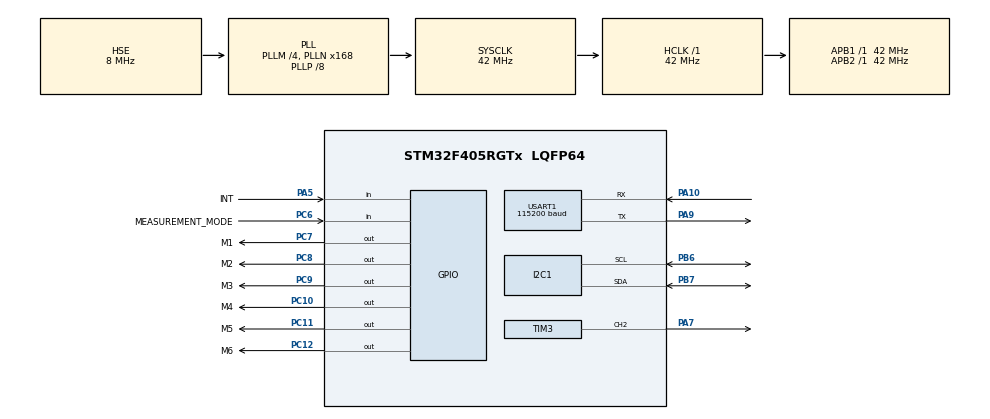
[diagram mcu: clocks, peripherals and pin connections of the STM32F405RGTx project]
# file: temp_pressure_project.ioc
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Mcu.Family=STM32F4
Mcu.Name=STM32F405RGTx
Mcu.Package=LQFP64
NVIC.PriorityGroup=NVIC_PRIORITYGROUP_4
NVIC.USART1_IRQn=true\:0\:0\:false\:false\:true\:true\:true\:true
PA10.Mode=Asynchronous
PA10.Signal=USART1_RX
PA13.Mode=JTAG_4_pins
PA13.Signal=SYS_JTMS-SWDIO
PA14.Mode=JTAG_4_pins
PA14.Signal=SYS_JTCK-SWCLK
PA15.Mode=JTAG_4_pins
PA15.Signal=SYS_JTDI
PA5.GPIO_Label=INT
PA5.Signal=GPIO_Input
PA7.Signal=S_TIM3_CH2
PA9.Mode=Asynchronous
PA9.Signal=USART1_TX
PB3.Mode=JTAG_4_pins
PB3.Signal=SYS_JTDO-SWO
PB6.Mode=I2C
PB6.Signal=I2C1_SCL
PB7.Mode=I2C
PB7.Signal=I2C1_SDA
PC10.GPIO_Label=M4
PC10.Signal=GPIO_Output
PC11.GPIO_Label=M5
PC11.Signal=GPIO_Output
PC12.GPIO_Label=M6
PC12.Signal=GPIO_Output
PC6.GPIO_Label=MEASUREMENT_MODE
PC6.Signal=GPIO_Input
PC7.GPIO_Label=M1
PC7.Signal=GPIO_Output
PC8.GPIO_Label=M2
PC8.Signal=GPIO_Output
PC9.GPIO_Label=M3
PC9.Signal=GPIO_Output
PH0-OSC_IN.Mode=HSE-External-Oscillator
PH0-OSC_IN.Signal=RCC_OSC_IN
PH1-OSC_OUT.Mode=HSE-External-Oscillator
PH1-OSC_OUT.Signal=RCC_OSC_OUT
ProjectManager.HeapSize=0x200
ProjectManager.StackSize=0x400
ProjectManager.TargetToolchain=STM32CubeIDE
RCC.48MHZClocksFreq_Value=84000000
RCC.AHBFreq_Value=42000000
RCC.APB1Freq_Value=42000000
RCC.APB1TimFreq_Value=42000000
RCC.APB2Freq_Value=42000000
RCC.APB2TimFreq_Value=42000000
RCC.CortexFreq_Value=42000000
RCC.HCLKFreq_Value=42000000
RCC.HSE_VALUE=8000000
RCC.HSI_VALUE=16000000
RCC.LSE_VALUE=32768
RCC.PLLM=4
RCC.PLLN=168
RCC.PLLP=RCC_PLLP_DIV8
RCC.PLLSourceVirtual=RCC_PLLSOURCE_HSE
RCC.SYSCLKFreq_VALUE=42000000
RCC.SYSCLKSource=RCC_SYSCLKSOURCE_PLLCLK
RCC.VCOOutputFreq_Value=336000000
SH.S_TIM3_CH2.0=TIM3_CH2,PWM Generation2 CH2
TIM3.Channel-PWM\ Generation2\ CH2=TIM_CHANNEL_2
TIM3.Period=250
TIM3.Prescaler=42000
TIM3.Pulse-PWM\ Generation2\ CH2=125
USART1.BaudRate=115200
USART1.VirtualMode=VM_ASYNC
VP_TIM3_VS_ClockSourceINT.Mode=Internal
board=custom

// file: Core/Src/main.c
/* USER CODE BEGIN Header */
/* USER CODE END Header */
#include "bmp3.h"
#include "common.h"
#include <string.h>
#include <stdio.h>
#include <stdlib.h>
#include "cJSON.h"

I2C_HandleTypeDef hi2c1;

TIM_HandleTypeDef htim3;

UART_HandleTypeDef huart1;

/* USER CODE BEGIN PV */
int8_t rslt;
uint16_t settings_sel;

struct bmp3_dev dev;
struct bmp3_data data = { 0 };
struct bmp3_settings settings = { 0 };
struct bmp3_status status = { { 0 } };

uint8_t measurement_mode = 0;

double press_min = 70000;
double press_step = 10000;
double temp_min = 0;
double temp_step = 10;
double temp = 0;
uint16_t ccr = 0;
uint16_t prescaler = 0;
uint16_t counterPeriod = 0;

char rx[50] = {0};
char tx[50] = {0};
uint8_t bufferCounter = 0;

enum
{
	TRANSMIT,
	MEASUREMENT,
	PROCESS_RECEIVED_DATA
} typedef DeviceState;

enum
{
	INT_TYPE,
	DOUBLE_TYPE
} typedef VarType;

DeviceState state = MEASUREMENT;

void changeSettings(cJSON * root, char * key, void * varAddr, VarType varType)
{
	cJSON *keyObj = cJSON_GetObjectItemCaseSensitive(root, key);
	if(keyObj != NULL)
	{
		switch(varType)
		{
			case INT_TYPE:
			{
				*((uint16_t *)varAddr) = keyObj->valueint;
				break;
			}
			case DOUBLE_TYPE:
			{
				*((double *)varAddr) = keyObj->valuedouble;
				break;
			}
		}
	}
}

void bmp3_set_measurement_leds(double * measurement, double * min, double * step)
{
	double temp = *measurement - *min;
	uint16_t leds = 0;
	temp /= *step;
	leds = 0;
	if(temp > 6)
	{
		temp = 6;
	}
	for(uint8_t i=0; i<(uint8_t)temp; i++)
	{
		leds |= M1_Pin << i;
	}
	HAL_GPIO_WritePin(M1_GPIO_Port, M1_Pin | M2_Pin | M3_Pin | M4_Pin | M5_Pin | M6_Pin, 0);
	HAL_GPIO_WritePin(M1_GPIO_Port, leds, 1);
}

void HAL_UART_RxCpltCallback(UART_HandleTypeDef *huart)
{
    if(huart->Instance == USART1)
    {
        if(rx[bufferCounter] == '}')
        {
        	bufferCounter = 0;
        	state = PROCESS_RECEIVED_DATA;
        }
        else
        {
        	bufferCounter += 1;
        }
        HAL_UART_Receive_IT(&huart1, (uint8_t *)&rx[bufferCounter], 1);
    }
}
/* USER CODE END PV */

void SystemClock_Config(void);
static void MX_GPIO_Init(void);
static void MX_USART1_UART_Init(void);
static void MX_TIM3_Init(void);
static void MX_I2C1_Init(void);

int main(void)
{

  /* MCU Configuration--------------------------------------------------------*/

  /* Reset of all peripherals, Initializes the Flash interface and the Systick. */
  HAL_Init();

  /* Configure the system clock */
  SystemClock_Config();

  /* Initialize all configured peripherals */
  MX_GPIO_Init();
  MX_USART1_UART_Init();
  MX_TIM3_Init();
  MX_I2C1_Init();
  /* USER CODE BEGIN 2 */

  rslt = bmp3_interface_init(&dev, BMP3_I2C_INTF);
  bmp3_check_rslt("bmp3_interface_init", rslt);

  rslt = bmp3_init(&dev);
  bmp3_check_rslt("bmp3_init", rslt);

  settings.int_settings.drdy_en = BMP3_ENABLE;
  settings.press_en = BMP3_ENABLE;
  settings.temp_en = BMP3_ENABLE;
  settings.odr_filter.press_os = BMP3_OVERSAMPLING_2X;
  settings.odr_filter.temp_os = BMP3_OVERSAMPLING_2X;
  settings.odr_filter.odr = BMP3_ODR_100_HZ;
  settings_sel = BMP3_SEL_PRESS_EN | BMP3_SEL_TEMP_EN | BMP3_SEL_PRESS_OS | BMP3_SEL_TEMP_OS | BMP3_SEL_ODR | BMP3_SEL_DRDY_EN;

  rslt = bmp3_set_sensor_settings(settings_sel, &settings, &dev);
  bmp3_check_rslt("bmp3_set_sensor_settings", rslt);

  settings.op_mode = BMP3_MODE_NORMAL;

  rslt = bmp3_set_op_mode(&settings, &dev);
  bmp3_check_rslt("bmp3_set_op_mode", rslt);

  measurement_mode = HAL_GPIO_ReadPin(MEASUREMENT_MODE_GPIO_Port, MEASUREMENT_MODE_Pin);

  HAL_UART_Receive_IT(&huart1, (uint8_t *)rx, 1);
  state = MEASUREMENT;

  HAL_TIM_Base_Start_IT(&htim3);
  HAL_TIM_PWM_Start(&htim3, TIM_CHANNEL_2);

	htim3.Instance->PSC = 42000;
	htim3.Instance->ARR = 1000;
	htim3.Instance->CCR2 = 500;

  ccr = htim3.Instance->CCR2;
  prescaler = htim3.Instance->PSC;
  counterPeriod = htim3.Instance->ARR;
  /* USER CODE END 2 */

  /* Infinite loop */
  /* USER CODE BEGIN WHILE */
	while(1)
	{
		switch(state)
		{
			case TRANSMIT:
			{
				cJSON *root = cJSON_CreateObject();

				ccr = htim3.Instance->CCR2;
				prescaler = htim3.Instance->PSC;
				counterPeriod = htim3.Instance->ARR;

				cJSON_AddStringToObject(root, "id", "TempPress Sensor");
				cJSON_AddNumberToObject(root, "temperature", data.temperature);
				cJSON_AddNumberToObject(root, "pressure", data.pressure);
				cJSON_AddNumberToObject(root, "temp_step", temp_step);
				cJSON_AddNumberToObject(root, "temp_min", temp_min);
				cJSON_AddNumberToObject(root, "press_step", press_step);
				cJSON_AddNumberToObject(root, "press_min", press_min);
				cJSON_AddNumberToObject(root, "prescaler", prescaler);
				cJSON_AddNumberToObject(root, "counterPeriod", counterPeriod);
				cJSON_AddNumberToObject(root, "ccr", ccr);

				char *json_string = cJSON_Print(root);

				HAL_UART_Transmit(&huart1, (uint8_t *)json_string, strlen(json_string), HAL_MAX_DELAY);

				cJSON_Delete(root);
				free(json_string);

				state = MEASUREMENT;
				break;
			}
			case MEASUREMENT:
			{
				rslt = bmp3_get_status(&status, &dev);

				bmp3_check_rslt("bmp3_get_status", rslt);

				if (status.intr.drdy != BMP3_ENABLE && rslt == BMP3_OK)
				{
					rslt = bmp3_get_sensor_data(BMP3_PRESS_TEMP, &data, &dev);
					measurement_mode = HAL_GPIO_ReadPin(MEASUREMENT_MODE_GPIO_Port, MEASUREMENT_MODE_Pin);

					if(measurement_mode == 0)
					{
						bmp3_set_measurement_leds(&data.temperature, &temp_min, &temp_step);
					}
					else
					{
						bmp3_set_measurement_leds(&data.pressure, &press_min, &press_step);
					}
				}

				ccr = htim3.Instance->CCR2;
				prescaler = htim3.Instance->PSC;
				counterPeriod = htim3.Instance->ARR;

				break;
			}
			case PROCESS_RECEIVED_DATA:
			{
				cJSON *root = cJSON_Parse(rx);

				changeSettings(root, "temp_min", &temp_min, DOUBLE_TYPE);
				changeSettings(root, "temp_step", &temp_step, DOUBLE_TYPE);
				changeSettings(root, "press_min", &press_min, DOUBLE_TYPE);
				changeSettings(root, "press_step", &press_step, DOUBLE_TYPE);
				changeSettings(root, "prescaler", &htim3.Instance->PSC, INT_TYPE);
				changeSettings(root, "counterPeriod", &htim3.Instance->ARR, INT_TYPE);
				changeSettings(root, "ccr", &htim3.Instance->CCR2, INT_TYPE);

				memset(rx, 0, sizeof(rx));
				cJSON_Delete(root);
				state = TRANSMIT;
				break;
			}

		}
	}
    /* USER CODE END WHILE */

}

void SystemClock_Config(void)
{
  RCC_OscInitTypeDef RCC_OscInitStruct = {0};
  RCC_ClkInitTypeDef RCC_ClkInitStruct = {0};

  /** Configure the main internal regulator output voltage
  */
  __HAL_RCC_PWR_CLK_ENABLE();
  __HAL_PWR_VOLTAGESCALING_CONFIG(PWR_REGULATOR_VOLTAGE_SCALE1);

  /** Initializes the RCC Oscillators according to the specified parameters
  * in the RCC_OscInitTypeDef structure.
  */
  RCC_OscInitStruct.OscillatorType = RCC_OSCILLATORTYPE_HSE;
  RCC_OscInitStruct.HSEState = RCC_HSE_ON;
  RCC_OscInitStruct.PLL.PLLState = RCC_PLL_ON;
  RCC_OscInitStruct.PLL.PLLSource = RCC_PLLSOURCE_HSE;
  RCC_OscInitStruct.PLL.PLLM = 4;
  RCC_OscInitStruct.PLL.PLLN = 168;
  RCC_OscInitStruct.PLL.PLLP = RCC_PLLP_DIV8;
  RCC_OscInitStruct.PLL.PLLQ = 4;
  if (HAL_RCC_OscConfig(&RCC_OscInitStruct) != HAL_OK)
  {
    Error_Handler();
  }

  /** Initializes the CPU, AHB and APB buses clocks
  */
  RCC_ClkInitStruct.ClockType = RCC_CLOCKTYPE_HCLK|RCC_CLOCKTYPE_SYSCLK
                              |RCC_CLOCKTYPE_PCLK1|RCC_CLOCKTYPE_PCLK2;
  RCC_ClkInitStruct.SYSCLKSource = RCC_SYSCLKSOURCE_PLLCLK;
  RCC_ClkInitStruct.AHBCLKDivider = RCC_SYSCLK_DIV1;
  RCC_ClkInitStruct.APB1CLKDivider = RCC_HCLK_DIV1;
  RCC_ClkInitStruct.APB2CLKDivider = RCC_HCLK_DIV1;

  if (HAL_RCC_ClockConfig(&RCC_ClkInitStruct, FLASH_LATENCY_1) != HAL_OK)
  {
    Error_Handler();
  }
}

static void MX_I2C1_Init(void)
{

  hi2c1.Instance = I2C1;
  hi2c1.Init.ClockSpeed = 100000;
  hi2c1.Init.DutyCycle = I2C_DUTYCYCLE_2;
  hi2c1.Init.OwnAddress1 = 0;
  hi2c1.Init.AddressingMode = I2C_ADDRESSINGMODE_7BIT;
  hi2c1.Init.DualAddressMode = I2C_DUALADDRESS_DISABLE;
  hi2c1.Init.OwnAddress2 = 0;
  hi2c1.Init.GeneralCallMode = I2C_GENERALCALL_DISABLE;
  hi2c1.Init.NoStretchMode = I2C_NOSTRETCH_DISABLE;
  if (HAL_I2C_Init(&hi2c1) != HAL_OK)
  {
    Error_Handler();
  }

}

static void MX_TIM3_Init(void)
{

  TIM_ClockConfigTypeDef sClockSourceConfig = {0};
  TIM_MasterConfigTypeDef sMasterConfig = {0};
  TIM_OC_InitTypeDef sConfigOC = {0};

  htim3.Instance = TIM3;
  htim3.Init.Prescaler = 42000;
  htim3.Init.CounterMode = TIM_COUNTERMODE_UP;
  htim3.Init.Period = 250;
  htim3.Init.ClockDivision = TIM_CLOCKDIVISION_DIV1;
  htim3.Init.AutoReloadPreload = TIM_AUTORELOAD_PRELOAD_DISABLE;
  if (HAL_TIM_Base_Init(&htim3) != HAL_OK)
  {
    Error_Handler();
  }
  sClockSourceConfig.ClockSource = TIM_CLOCKSOURCE_INTERNAL;
  if (HAL_TIM_ConfigClockSource(&htim3, &sClockSourceConfig) != HAL_OK)
  {
    Error_Handler();
  }
  if (HAL_TIM_PWM_Init(&htim3) != HAL_OK)
  {
    Error_Handler();
  }
  sMasterConfig.MasterOutputTrigger = TIM_TRGO_RESET;
  sMasterConfig.MasterSlaveMode = TIM_MASTERSLAVEMODE_DISABLE;
  if (HAL_TIMEx_MasterConfigSynchronization(&htim3, &sMasterConfig) != HAL_OK)
  {
    Error_Handler();
  }
  sConfigOC.OCMode = TIM_OCMODE_PWM1;
  sConfigOC.Pulse = 125;
  sConfigOC.OCPolarity = TIM_OCPOLARITY_HIGH;
  sConfigOC.OCFastMode = TIM_OCFAST_DISABLE;
  if (HAL_TIM_PWM_ConfigChannel(&htim3, &sConfigOC, TIM_CHANNEL_2) != HAL_OK)
  {
    Error_Handler();
  }
  HAL_TIM_MspPostInit(&htim3);

}

static void MX_USART1_UART_Init(void)
{

  huart1.Instance = USART1;
  huart1.Init.BaudRate = 115200;
  huart1.Init.WordLength = UART_WORDLENGTH_8B;
  huart1.Init.StopBits = UART_STOPBITS_1;
  huart1.Init.Parity = UART_PARITY_NONE;
  huart1.Init.Mode = UART_MODE_TX_RX;
  huart1.Init.HwFlowCtl = UART_HWCONTROL_NONE;
  huart1.Init.OverSampling = UART_OVERSAMPLING_16;
  if (HAL_UART_Init(&huart1) != HAL_OK)
  {
    Error_Handler();
  }

}

static void MX_GPIO_Init(void)
{
  GPIO_InitTypeDef GPIO_InitStruct = {0};

  /* GPIO Ports Clock Enable */
  __HAL_RCC_GPIOH_CLK_ENABLE();
  __HAL_RCC_GPIOA_CLK_ENABLE();
  __HAL_RCC_GPIOC_CLK_ENABLE();
  __HAL_RCC_GPIOB_CLK_ENABLE();

  /*Configure GPIO pin Output Level */
  HAL_GPIO_WritePin(GPIOC, M1_Pin|M2_Pin|M3_Pin|M4_Pin
                          |M5_Pin|M6_Pin, GPIO_PIN_RESET);

  /*Configure GPIO pin : INT_Pin */
  GPIO_InitStruct.Pin = INT_Pin;
  GPIO_InitStruct.Mode = GPIO_MODE_INPUT;
  GPIO_InitStruct.Pull = GPIO_NOPULL;
  HAL_GPIO_Init(INT_GPIO_Port, &GPIO_InitStruct);

  /*Configure GPIO pin : MEASUREMENT_MODE_Pin */
  GPIO_InitStruct.Pin = MEASUREMENT_MODE_Pin;
  GPIO_InitStruct.Mode = GPIO_MODE_INPUT;
  GPIO_InitStruct.Pull = GPIO_NOPULL;
  HAL_GPIO_Init(MEASUREMENT_MODE_GPIO_Port, &GPIO_InitStruct);

  /*Configure GPIO pins : M1_Pin M2_Pin M3_Pin M4_Pin
                           M5_Pin M6_Pin */
  GPIO_InitStruct.Pin = M1_Pin|M2_Pin|M3_Pin|M4_Pin
                          |M5_Pin|M6_Pin;
  GPIO_InitStruct.Mode = GPIO_MODE_OUTPUT_PP;
  GPIO_InitStruct.Pull = GPIO_NOPULL;
  GPIO_InitStruct.Speed = GPIO_SPEED_FREQ_LOW;
  HAL_GPIO_Init(GPIOC, &GPIO_InitStruct);

}

void Error_Handler(void)
{
}
